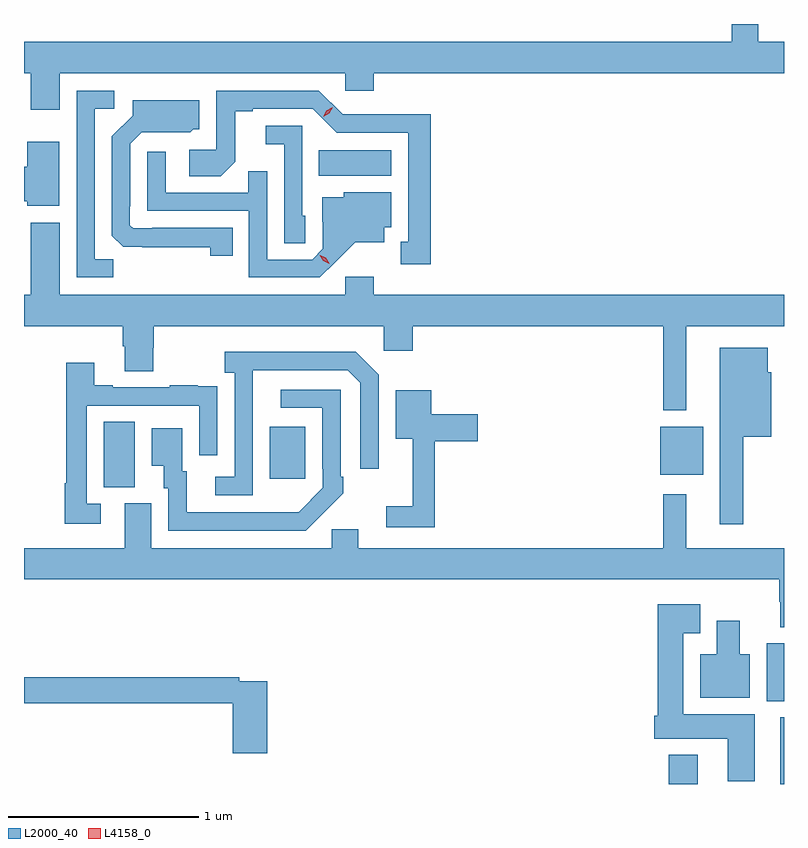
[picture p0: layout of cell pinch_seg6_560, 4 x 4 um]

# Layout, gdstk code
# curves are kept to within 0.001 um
import gdstk
lib = gdstk.Library(unit=1e-6, precision=1e-09)
def R(c, l, rs):  # rectangles x0, y0, x1, y1
    for r in rs: c.add(gdstk.rectangle(r[:2], r[2:], *l))
def P(c, l, *ps):  # polygons
    for p in ps: c.add(gdstk.Polygon(p, *l))
L2000_40 = (2000, 40)
L4158_0 = (4158, 0)

pinch_seg6_560 = lib.new_cell('pinch_seg6_560')
R(pinch_seg6_560, L2000_40, [(603.635,962.242,603.787,962.395), (604.223,962.242,604.242,962.593), (604.151,962.678,604.242,962.983), (600.662,963.805,600.826,964.148), (601.535,963.849,601.723,964.123), (603.59,963.869,603.817,964.123), (601.792,965.444,602.176,965.578)])
P(pinch_seg6_560, L2000_40, [(600.43,965.984),(601.932,965.984),(601.932,965.891),(602.084,965.891),(602.084,965.984),(604.242,965.984),(604.242,966.148),(604.107,966.148),(604.107,966.242),(603.968,966.242),(603.968,966.148),(600.242,966.148),(600.242,965.984),(600.278,965.984),(600.278,965.79),(600.43,965.79)],
  [(600.711,965.003),(600.615,965.003),(600.615,965.796),(600.718,965.796),(600.718,965.892),(600.519,965.892),(600.519,964.908),(600.711,964.908)],
  [(602.383,965.768),(602.142,965.768),(602.142,965.766),(601.92,965.766),(601.794,965.892),(601.254,965.892),(601.254,965.58),(601.113,965.58),(601.113,965.44),(601.277,965.44),(601.353,965.516),(601.353,965.784),(601.447,965.784),(601.447,965.796),(601.761,965.796),(601.887,965.67),(602.264,965.67),(602.264,965.097),(602.225,965.097),(602.225,964.977),(602.383,964.977)],
  [(601.34,965.169),(600.916,965.169),(600.916,965.166),(600.816,965.166),(600.798,965.184),(600.798,965.284),(600.801,965.284),(600.801,965.613),(600.861,965.673),(601.118,965.672),(601.134,965.688),(601.165,965.688),(601.165,965.842),(600.815,965.842),(600.815,965.76),(600.705,965.65),(600.705,965.128),(600.764,965.069),(601.222,965.068),(601.222,965.022),(601.34,965.022)],
  [(601.722,965.232),(601.707,965.232),(601.707,965.706),(601.515,965.706),(601.515,965.609),(601.611,965.609),(601.611,965.089),(601.722,965.089)],
  [(600.427,965.623),(600.26,965.623),(600.26,965.492),(600.242,965.492),(600.242,965.309),(600.26,965.309),(600.26,965.285),(600.427,965.285)],
  [(601.882,964.991),(601.985,965.093),(602.137,965.093),(602.137,965.172),(602.176,965.172),(602.176,965.356),(601.926,965.356),(601.926,965.329),(601.811,965.329),(601.811,965.2),(601.815,965.2),(601.815,965.058),(601.758,965.001),(601.521,965.001),(601.521,965.468),(601.423,965.468),(601.423,965.355),(600.987,965.355),(600.987,965.569),(600.891,965.569),(600.891,965.259),(601.425,965.259),(601.425,964.908),(601.798,964.908)],
  [(603.727,964.652),(604.242,964.652),(604.242,964.816),(602.084,964.816),(602.084,964.912),(601.932,964.912),(601.932,964.816),(600.43,964.816),(600.43,965.197),(600.278,965.197),(600.278,964.816),(600.242,964.816),(600.242,964.652),(600.761,964.652),(600.761,964.546),(600.773,964.546),(600.773,964.414),(600.921,964.414),(600.921,964.539),(600.926,964.539),(600.926,964.652),(602.136,964.652),(602.136,964.521),(602.288,964.521),(602.288,964.652),(603.606,964.652),(603.606,964.208),(603.727,964.208)],
  [(604.027,964.07),(604.174,964.07),(604.174,964.41),(604.156,964.41),(604.156,964.537),(603.905,964.537),(603.905,963.609),(604.027,963.609)],
  [(601.446,964.219),(601.447,964.419),(601.947,964.419),(602.013,964.353),(602.013,963.9),(602.109,963.9),(602.109,964.395),(601.988,964.516),(601.299,964.516),(601.299,964.406),(601.35,964.406),(601.35,963.858),(601.248,963.858),(601.248,963.762),(601.446,963.762)],
  [(600.646,963.717),(600.573,963.717),(600.573,964.233),(601.164,964.233),(601.164,963.972),(601.26,963.972),(601.26,964.226),(601.259,964.226),(601.259,964.335),(601.157,964.335),(601.157,964.342),(601.009,964.342),(601.009,964.329),(600.709,964.329),(600.709,964.342),(600.613,964.342),(600.613,964.459),(600.465,964.459),(600.465,963.824),(600.457,963.824),(600.457,963.612),(600.646,963.612)],
  [(601.817,963.667),(601.818,963.666),(601.923,963.771),(601.923,963.859),(601.908,963.859),(601.908,964.317),(601.593,964.317),(601.593,964.221),(601.812,964.221),(601.812,963.901),(601.815,963.901),(601.815,963.801),(601.687,963.673),(601.099,963.672),(601.099,963.888),(601.075,963.888),(601.075,964.114),(600.914,964.114),(600.914,963.917),(600.977,963.917),(600.977,963.798),(601.002,963.798),(601.002,963.576),(601.726,963.576)],
  [(602.405,964.046),(602.629,964.046),(602.629,964.188),(602.386,964.188),(602.386,964.315),(602.198,964.315),(602.198,964.058),(602.288,964.058),(602.288,963.703),(602.148,963.703),(602.148,963.594),(602.405,963.594)],
  [(604.242,963.484),(603.727,963.484),(603.727,963.766),(603.606,963.766),(603.606,963.484),(602.002,963.484),(602.002,963.582),(601.863,963.582),(601.863,963.484),(600.913,963.484),(600.913,963.72),(600.773,963.72),(600.773,963.484),(600.242,963.484),(600.242,963.32),(604.216,963.32),(604.216,963.2),(604.223,963.2),(604.223,963.068),(604.242,963.068)],
  [(604.087,962.608),(603.712,962.608),(603.712,963.035),(603.802,963.035),(603.802,963.187),(603.578,963.187),(603.578,962.601),(603.56,962.601),(603.56,962.48),(603.947,962.48),(603.947,962.256),(604.087,962.256)],
  [(604.063,962.926),(604.009,962.926),(604.009,963.1),(603.887,963.1),(603.887,962.926),(603.8,962.926),(603.8,962.696),(604.063,962.696)],
  [(601.523,962.784),(601.376,962.784),(601.376,962.804),(600.242,962.804),(600.242,962.668),(601.34,962.668),(601.34,962.403),(601.523,962.403)])
P(pinch_seg6_560, L4158_0, [(601.817,965.754),(601.817,965.754),(601.834,965.786),(601.866,965.805),(601.866,965.805),(601.866,965.805),(601.849,965.773),(601.817,965.754)],
  [(601.848,964.981),(601.817,964.996),(601.799,965.026),(601.799,965.026),(601.8,965.026),(601.83,965.011),(601.848,964.982),(601.848,964.981)])

lib.write_gds('pinch_seg6_560.gds')
